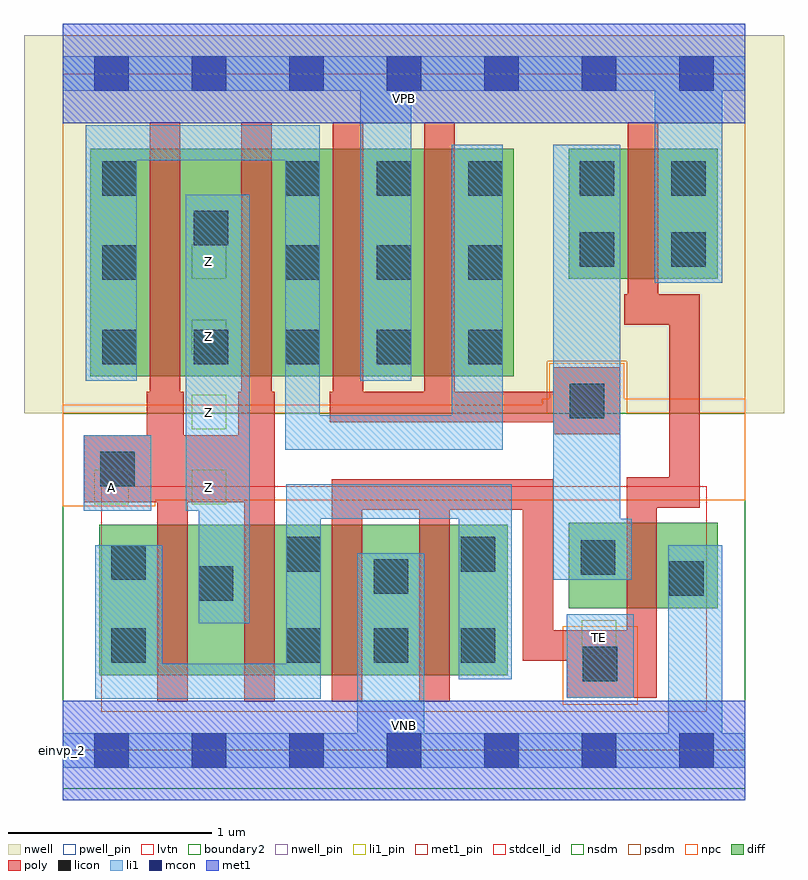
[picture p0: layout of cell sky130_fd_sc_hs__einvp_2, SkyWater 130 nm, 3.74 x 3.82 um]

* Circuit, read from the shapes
.subckt sky130_fd_sc_hs__einvp_2 A TE VGND VNB VPB VPWR Z
XM1 Z A n1 VNB sky130_fd_pr__nfet_01v8_lvt w=0.74 l=0.15 m=2
XM2 VGND TE n1 VNB sky130_fd_pr__nfet_01v8_lvt w=0.74 l=0.15 m=2
XM3 VGND TE n2 VNB sky130_fd_pr__nfet_01v8_lvt w=0.42 l=0.15
XM4 Z A n3 VPB sky130_fd_pr__pfet_01v8 w=1.12 l=0.15 m=2
XM5 VPWR n2 n3 VPB sky130_fd_pr__pfet_01v8 w=1.12 l=0.15 m=2
XM6 VPWR TE n2 VPB sky130_fd_pr__pfet_01v8 w=0.64 l=0.15
.ends

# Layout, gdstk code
import gdstk
lib = gdstk.Library(unit=1e-6, precision=1e-09)
def R(c, l, rs):  # rectangles x0, y0, x1, y1
    for r in rs: c.add(gdstk.rectangle(r[:2], r[2:], *l))
def A(c, l, x, y, w, h, nx, ny, dx, dy):  # array of equal rectangles
    R(c, l, [(x+i*dx, y+j*dy, x+i*dx+w, y+j*dy+h) for i in range(nx) for j in range(ny)])
def P(c, l, *ps):  # polygons
    for p in ps: c.add(gdstk.Polygon(p, *l))
nwell_pin = (64, 16)
nwell = (64, 20)
diff = (65, 20)
poly = (66, 20)
licon = (66, 44)
li1_pin = (67, 16)
li1 = (67, 20)
mcon = (67, 44)
met1_pin = (68, 16)
met1 = (68, 20)
stdcell_id = (81, 4)
nsdm = (93, 44)
psdm = (94, 20)
npc = (95, 20)
pwell_pin = (122, 16)
lvtn = (125, 44)
boundary2 = (236, 0)

sky130_fd_sc_hs__einvp_2 = lib.new_cell('sky130_fd_sc_hs__einvp_2')
R(sky130_fd_sc_hs__einvp_2, nwell_pin, [(0,3.085,3.36,3.33)])
R(sky130_fd_sc_hs__einvp_2, nwell, [(-0.19,1.66,3.55,3.52)])
R(sky130_fd_sc_hs__einvp_2, diff, [(0.18,0.37,2.19,1.11), (2.49,0.7,3.225,1.12), (0.135,1.84,2.22,2.96), (2.49,2.32,3.225,2.96)])
P(sky130_fd_sc_hs__einvp_2, poly, [(1.045,1.765),(1.03,1.765),(1.03,3.09),(0.88,3.09),(0.88,1.765),(0.865,1.765),(0.865,1.55),(0.595,1.55),(0.595,1.765),(0.58,1.765),(0.58,3.09),(0.43,3.09),(0.43,1.765),(0.415,1.765),(0.415,1.55),(0.105,1.55),(0.105,1.22),(0.465,1.22),(0.465,0.24),(0.615,0.24),(0.615,1.22),(0.895,1.22),(0.895,0.24),(1.045,0.24)],
  [(2.745,1.885),(2.415,1.885),(2.415,1.765),(1.93,1.765),(1.93,3.09),(1.78,3.09),(1.78,1.765),(1.48,1.765),(1.48,3.09),(1.33,3.09),(1.33,1.765),(1.315,1.765),(1.315,1.615),(2.415,1.615),(2.415,1.555),(2.745,1.555)],
  [(3.135,2.245),(2.93,2.245),(2.93,3.09),(2.78,3.09),(2.78,2.245),(2.765,2.245),(2.765,2.095),(2.985,2.095),(2.985,1.345),(2.775,1.345),(2.775,0.59),(2.415,0.59),(2.415,1.335),(1.325,1.335),(1.325,0.24),(1.475,0.24),(1.475,1.185),(1.755,1.185),(1.755,0.24),(1.905,0.24),(1.905,1.185),(2.265,1.185),(2.265,0.44),(2.48,0.44),(2.48,0.26),(2.925,0.26),(2.925,1.195),(3.135,1.195)])
A(sky130_fd_sc_hs__einvp_2, licon, 1.1, 0.43, 0.17, 0.17, 3, 1, 0.43, 0)
A(sky130_fd_sc_hs__einvp_2, licon, 0.195, 1.9, 0.17, 0.17, 5, 1, 0.45, 0)
A(sky130_fd_sc_hs__einvp_2, licon, 1.095, 2.315, 0.17, 0.17, 3, 2, 0.45, 0.415)
R(sky130_fd_sc_hs__einvp_2, licon, [(2.56,0.34,2.73,0.51), (0.24,0.43,0.41,0.6), (0.67,0.735,0.84,0.905), (2.985,0.76,3.155,0.93), (1.53,0.77,1.7,0.94), (0.24,0.84,0.41,1.01), (2.55,0.865,2.72,1.035), (1.1,0.88,1.27,1.05), (1.96,0.88,2.13,1.05), (0.185,1.3,0.355,1.47), (2.495,1.635,2.665,1.805), (0.195,2.315,0.365,2.485), (2.545,2.38,2.715,2.55), (2.995,2.38,3.165,2.55), (0.645,2.485,0.815,2.655), (0.195,2.73,0.365,2.9), (2.545,2.73,2.715,2.9), (2.995,2.73,3.165,2.9)])
A(sky130_fd_sc_hs__einvp_2, li1_pin, 0.635, 1.21, 0.17, 0.17, 1, 4, 0, 0.37)
R(sky130_fd_sc_hs__einvp_2, li1_pin, [(2.555,0.47,2.725,0.64), (0.155,1.21,0.325,1.38)])
R(sky130_fd_sc_hs__einvp_2, li1, [(2.48,0.26,2.81,0.67), (0.105,1.18,0.435,1.55)])
P(sky130_fd_sc_hs__einvp_2, li1, [(0,-0.085),(0,0.085),(1.45,0.085),(1.45,0.97),(1.78,0.97),(1.78,0.085),(2.98,0.085),(2.98,1.01),(3.245,1.01),(3.245,0.085),(3.36,0.085),(3.36,-0.085)],
  [(0,3.245),(0,3.415),(3.36,3.415),(3.36,3.245),(3.245,3.245),(3.245,2.3),(2.915,2.3),(2.915,3.245),(1.715,3.245),(1.715,1.82),(1.465,1.82),(1.465,3.245)],
  [(0.67,1.18),(0.605,1.18),(0.605,2.735),(0.92,2.735),(0.92,0.625),(0.67,0.625)],
  [(1.915,1.65),(1.915,2.98),(2.165,2.98),(2.165,1.48),(1.095,1.48),(1.095,2.905),(0.365,2.905),(0.365,1.82),(0.115,1.82),(0.115,3.075),(1.265,3.075),(1.265,1.65)],
  [(1.95,1.14),(1.27,1.14),(1.27,0.255),(0.16,0.255),(0.16,1.01),(0.49,1.01),(0.49,0.425),(1.1,0.425),(1.1,1.31),(2.21,1.31),(2.21,0.35),(1.95,0.35)],
  [(2.415,0.84),(2.415,2.98),(2.745,2.98),(2.745,1.14),(2.8,1.14),(2.8,0.84)])
A(sky130_fd_sc_hs__einvp_2, mcon, 0.155, -0.085, 0.17, 0.17, 7, 2, 0.48, 3.33)
R(sky130_fd_sc_hs__einvp_2, met1_pin, [(0,0,3.36,0.245), (0,3.085,3.36,3.33)])
R(sky130_fd_sc_hs__einvp_2, met1, [(0,-0.245,3.36,0.245), (0,3.085,3.36,3.575)])
R(sky130_fd_sc_hs__einvp_2, stdcell_id, [(0,0,3.36,3.33)])
R(sky130_fd_sc_hs__einvp_2, nsdm, [(0,-0.19,3.36,1.66)])
P(sky130_fd_sc_hs__einvp_2, psdm, [(3.36,3.52),(0,3.52),(0,1.66),(2.385,1.66),(2.385,1.915),(2.775,1.915),(2.775,1.66),(3.36,1.66)])
R(sky130_fd_sc_hs__einvp_2, npc, [(2.46,0.225,2.83,0.61)])
P(sky130_fd_sc_hs__einvp_2, npc, [(3.36,1.73),(2.765,1.73),(2.765,1.905),(2.395,1.905),(2.395,1.73),(2.36,1.73),(2.36,1.7),(0,1.7),(0,1.2),(0.455,1.2),(0.455,1.23),(3.36,1.23)])
R(sky130_fd_sc_hs__einvp_2, pwell_pin, [(0,0,3.36,0.245)])
R(sky130_fd_sc_hs__einvp_2, lvtn, [(0.19,0.19,3.17,1.3)])
R(sky130_fd_sc_hs__einvp_2, boundary2, [(0,0,3.36,3.33)])
sky130_fd_sc_hs__einvp_2.add(gdstk.Label('einvp_2', (0,0), layer=83, texttype=44))
sky130_fd_sc_hs__einvp_2.add(gdstk.Label('VNB', (1.68,0.123), layer=64, texttype=59))
sky130_fd_sc_hs__einvp_2.add(gdstk.Label('VPB', (1.68,3.208), layer=64, texttype=5))
sky130_fd_sc_hs__einvp_2.add(gdstk.Label('VPWR', (1.68,3.208), layer=68, texttype=5))
sky130_fd_sc_hs__einvp_2.add(gdstk.Label('VGND', (1.68,0.123), layer=68, texttype=5))
sky130_fd_sc_hs__einvp_2.add(gdstk.Label('Z', (0.72,1.295), layer=67, texttype=5))
sky130_fd_sc_hs__einvp_2.add(gdstk.Label('Z', (0.72,1.665), layer=67, texttype=5))
sky130_fd_sc_hs__einvp_2.add(gdstk.Label('Z', (0.72,2.035), layer=67, texttype=5))
sky130_fd_sc_hs__einvp_2.add(gdstk.Label('Z', (0.72,2.405), layer=67, texttype=5))
sky130_fd_sc_hs__einvp_2.add(gdstk.Label('A', (0.24,1.295), layer=67, texttype=5))
sky130_fd_sc_hs__einvp_2.add(gdstk.Label('TE', (2.64,0.555), layer=67, texttype=5))

lib.write_gds('sky130_fd_sc_hs__einvp_2.gds')
